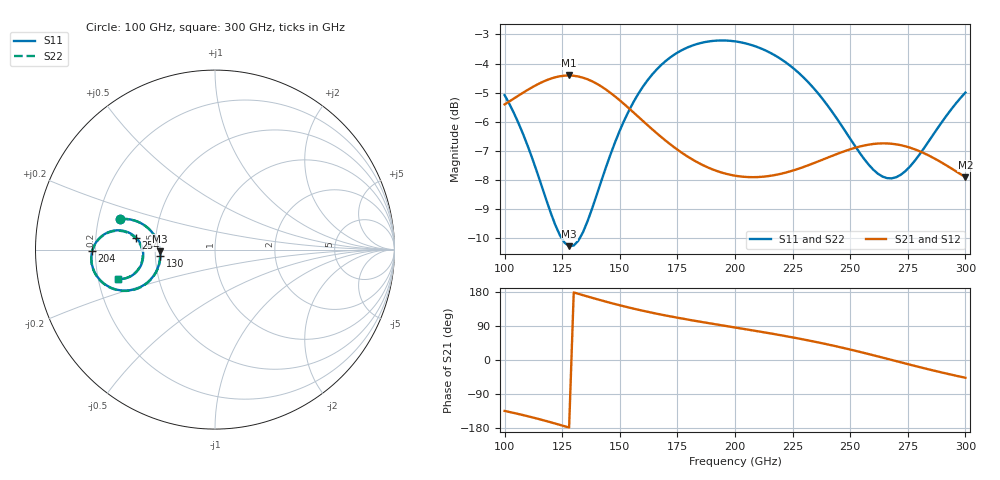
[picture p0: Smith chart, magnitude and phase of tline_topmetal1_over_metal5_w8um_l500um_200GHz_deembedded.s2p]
! Created with skrf 2.2.0 (http://scikit-rf.org).
# GHz S DB R 50.0
! Port[1] = P1
! Port[2] = P2
!freq dBS11 angS11 dBS21 angS21 dBS12 angS12 dBS22 angS22
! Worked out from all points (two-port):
!   101 points, 100 GHz to 300 GHz, reference 50 ohm
!   highest |S21| = -4.41 dB at 128 GHz (marker M1); lowest = -7.9 dB at 300 GHz (marker M2)
!   |S21| within 3 dB of the highest: start of sweep to 184.1 GHz; 234.5 GHz to 289.9 GHz (55.38 GHz wide, 21.1 % of centre)
!   lowest |S11| = -10.3 dB at 128 GHz (marker M3), VSWR 1.88, Z = 26.5 - j0.573 ohm
!   |S11| at or under -10 dB: 124.8 GHz to 132.6 GHz (7.757 GHz wide, 6.03 % of centre)
!   |S22| runs from -10.3 to -3.2 dB; largest |S21 - S12| = 4.8e-14
!   S11 on the Smith chart (normalised r, x): 100 GHz: 0.29, +0.14; 130 GHz: 0.53, -0.04; 204 GHz: 0.19, -0.01; 254 GHz: 0.39, +0.06; 300 GHz: 0.29, -0.14
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100  -5.08 162.2  -5.40 -134.4  -5.40 -134.4  -5.09 162.2
108  -6.42 160.1  -5.00 -145.4  -5.00 -145.4  -6.42 160.1
114  -7.71 161.2  -4.73 -154.5  -4.73 -154.5  -7.72 161.1
122  -9.54 169.4  -4.47 -167.7  -4.47 -167.7  -9.57 169.4
128  -10.27 -178.2  -4.41 -178.2  -4.41 -178.2  -10.30 -178.1
130  -10.25 -173.5  -4.42 178.2  -4.42 178.2  -10.27 -173.4
134  -9.80 -164.9  -4.48 171.1  -4.48 171.1  -9.82 -164.8
142  -8.03 -155.1  -4.79 157.3  -4.79 157.3  -8.04 -154.8
150  -6.30 -153.5  -5.26 144.4  -5.26 144.4  -6.30 -153.3
158  -5.04 -155.9  -5.82 132.7  -5.82 132.7  -5.04 -155.7
168  -4.05 -160.9  -6.52 119.8  -6.52 119.8  -4.04 -160.7
184  -3.32 -169.4  -7.40 102.0  -7.40 102.0  -3.31 -169.2
200  -3.24 -177.4  -7.85 85.8  -7.85 85.8  -3.23 -177.2
204  -3.30 -179.3  -7.89 81.8  -7.89 81.8  -3.29 -179.0
218  -3.75 174.6  -7.82 67.4  -7.82 67.4  -3.74 174.9
234  -4.83 169.4  -7.43 49.0  -7.43 49.0  -4.81 169.7
244  -5.87 168.5  -7.11 36.0  -7.11 36.0  -5.84 168.8
254  -7.05 171.5  -6.85 21.7  -6.85 21.7  -7.01 171.8
268  -7.94 -176.0  -6.75 0.1  -6.75 0.1  -7.88 -175.9
276  -7.53 -168.3  -6.89 -12.4  -6.89 -12.4  -7.47 -168.2
284  -6.68 -163.6  -7.15 -24.6  -7.15 -24.6  -6.63 -163.6
300  -5.00 -163.0  -7.91 -46.9  -7.91 -46.9  -4.97 -163.0
